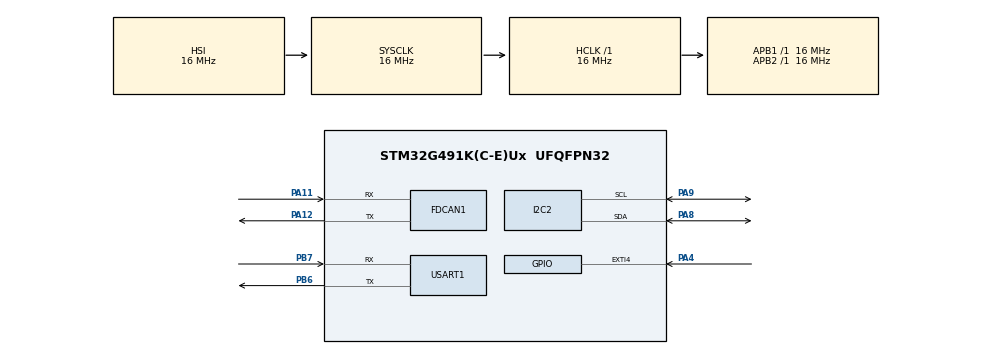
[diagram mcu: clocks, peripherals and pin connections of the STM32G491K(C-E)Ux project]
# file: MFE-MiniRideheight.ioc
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FDCAN1.CalculateBaudRateNominal=1000000
FDCAN1.CalculateTimeBitNominal=1000
FDCAN1.CalculateTimeQuantumNominal=62.5
FDCAN1.NominalPrescaler=1
FDCAN1.NominalTimeSeg1=13
FDCAN1.NominalTimeSeg2=2
I2C2.Timing=0x00503D58
Mcu.Family=STM32G4
Mcu.Name=STM32G491K(C-E)Ux
Mcu.Package=UFQFPN32
NVIC.EXTI4_IRQn=true\:0\:0\:false\:false\:true\:true\:true\:true
NVIC.I2C2_EV_IRQn=true\:0\:0\:false\:false\:true\:true\:true\:true
NVIC.PriorityGroup=NVIC_PRIORITYGROUP_4
PA11.Mode=FDCAN_Activate
PA11.Signal=FDCAN1_RX
PA12.Mode=FDCAN_Activate
PA12.Signal=FDCAN1_TX
PA13.Mode=Serial_Wire
PA13.Signal=SYS_JTMS-SWDIO
PA14.Mode=Serial_Wire
PA14.Signal=SYS_JTCK-SWCLK
PA4.GPIO_ModeDefaultEXTI=GPIO_MODE_IT_FALLING
PA4.Signal=GPXTI4
PA8.Mode=I2C
PA8.Signal=I2C2_SDA
PA9.Mode=I2C
PA9.Signal=I2C2_SCL
PB6.Mode=Asynchronous
PB6.Signal=USART1_TX
PB7.Mode=Asynchronous
PB7.Signal=USART1_RX
ProjectManager.HeapSize=0x200
ProjectManager.StackSize=0x400
ProjectManager.TargetToolchain=STM32CubeIDE
RCC.AHBFreq_Value=16000000
RCC.APB1Freq_Value=16000000
RCC.APB1TimFreq_Value=16000000
RCC.APB2Freq_Value=16000000
RCC.APB2TimFreq_Value=16000000
RCC.CortexFreq_Value=16000000
RCC.EXTERNAL_CLOCK_VALUE=12288000
RCC.HCLKFreq_Value=16000000
RCC.HSE_VALUE=8000000
RCC.HSI48_VALUE=48000000
RCC.HSI_VALUE=16000000
RCC.LSE_VALUE=32768
RCC.SYSCLKFreq_VALUE=16000000
RCC.VCOOutputFreq_Value=128000000
USART1.VirtualMode-Asynchronous=VM_ASYNC
VP_SYS_VS_DBSignals.Mode=DisableDeadBatterySignals
board=custom

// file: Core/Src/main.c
/* USER CODE BEGIN Header */
/**
  ******************************************************************************
  * @file           : main.c
  * @brief          : Main program body
  ******************************************************************************
  * @attention
  *
  * Copyright (c) 2026 STMicroelectronics.
  * All rights reserved.
  *
  * This software is licensed under terms that can be found in the LICENSE file
  * in the root directory of this software component.
  * If no LICENSE file comes with this software, it is provided AS-IS.
  *
  ******************************************************************************
  */
/* USER CODE END Header */
#include "main.h"
#include "fdcan.h"
#include "i2c.h"
#include "usart.h"
#include "gpio.h"

/* USER CODE BEGIN Includes */
#include "../Inc/BoardManager.h"

/* USER CODE END Includes */

/* USER CODE BEGIN PD */
volatile bool data_ready;
void* can_handle;
VL53L4CD_ResultsData_t data;

/* USER CODE END PD */

void SystemClock_Config(void);

int main(void)
{

  /* MCU Configuration--------------------------------------------------------*/

  /* Reset of all peripherals, Initializes the Flash interface and the Systick. */
  HAL_Init();

  /* Configure the system clock */
  SystemClock_Config();

  /* Initialize all configured peripherals */
  MX_GPIO_Init();
  MX_FDCAN1_Init();
  MX_I2C2_Init();
  MX_USART1_UART_Init();
  /* USER CODE BEGIN 2 */
  printf("\r\n====================================\r\n");
  printf("  MiniRideHeight Firmware Boot\r\n");
  printf("====================================\r\n");

  initializeCAN();

  printf("[BOOT] Waiting 5000ms for sensor power rail to stabilize...\r\n");
  HAL_Delay(5000);

  sensor_soft_reset();                     // force a clean internal boot of the sensor
  while (!sensor_start()){
	  printf("[BOOT] Retrying sensor_start in 500ms...\r\n");
	  HAL_Delay(500);
  }

  /* USER CODE END 2 */

  /* Infinite loop */
  /* USER CODE BEGIN WHILE */
  HAL_Delay(100);
  uint32_t wait_count = 0;
  while (1)
  {
	  FDCAN_ProtocolStatusTypeDef psr;
	  HAL_FDCAN_GetProtocolStatus(&hfdcan1, &psr);
	  if (psr.BusOff) {
		  HAL_FDCAN_Stop(&hfdcan1);
		  HAL_FDCAN_Start(&hfdcan1);
	  }

	  uint8_t is_ready = 0;
	  VL53L4CD_CheckForDataReady(DEVICE_INSTANCE, &is_ready);

	  if (is_ready || data_ready) {
		  data_ready = 0;
		  get_data_it();
		  wait_count = 0;
	  } else {
		  wait_count++;
		  if (wait_count % 40 == 0) { // every ~2 seconds (40 * 50ms)
			  GPIO_PinState pa4_state = HAL_GPIO_ReadPin(GPIOA, GPIO_PIN_4);
			  printf("[IDLE] Waiting: is_ready=%u, data_ready=%u, PA4_pin=%u\r\n",
			         is_ready, data_ready, (unsigned int)pa4_state);
		  }
	  }
	  HAL_Delay(50);
    /* USER CODE END WHILE */

  }
}

void SystemClock_Config(void)
{
  RCC_OscInitTypeDef RCC_OscInitStruct = {0};
  RCC_ClkInitTypeDef RCC_ClkInitStruct = {0};

  /** Configure the main internal regulator output voltage
  */
  HAL_PWREx_ControlVoltageScaling(PWR_REGULATOR_VOLTAGE_SCALE1);

  /** Initializes the RCC Oscillators according to the specified parameters
  * in the RCC_OscInitTypeDef structure.
  */
  RCC_OscInitStruct.OscillatorType = RCC_OSCILLATORTYPE_HSI;
  RCC_OscInitStruct.HSIState = RCC_HSI_ON;
  RCC_OscInitStruct.HSICalibrationValue = RCC_HSICALIBRATION_DEFAULT;
  RCC_OscInitStruct.PLL.PLLState = RCC_PLL_NONE;
  if (HAL_RCC_OscConfig(&RCC_OscInitStruct) != HAL_OK)
  {
    Error_Handler();
  }

  /** Initializes the CPU, AHB and APB buses clocks
  */
  RCC_ClkInitStruct.ClockType = RCC_CLOCKTYPE_HCLK|RCC_CLOCKTYPE_SYSCLK
                              |RCC_CLOCKTYPE_PCLK1|RCC_CLOCKTYPE_PCLK2;
  RCC_ClkInitStruct.SYSCLKSource = RCC_SYSCLKSOURCE_HSI;
  RCC_ClkInitStruct.AHBCLKDivider = RCC_SYSCLK_DIV1;
  RCC_ClkInitStruct.APB1CLKDivider = RCC_HCLK_DIV1;
  RCC_ClkInitStruct.APB2CLKDivider = RCC_HCLK_DIV1;

  if (HAL_RCC_ClockConfig(&RCC_ClkInitStruct, FLASH_LATENCY_0) != HAL_OK)
  {
    Error_Handler();
  }
}

void Error_Handler(void)
{
  __disable_irq();
  while (1)
  {
  }
}
